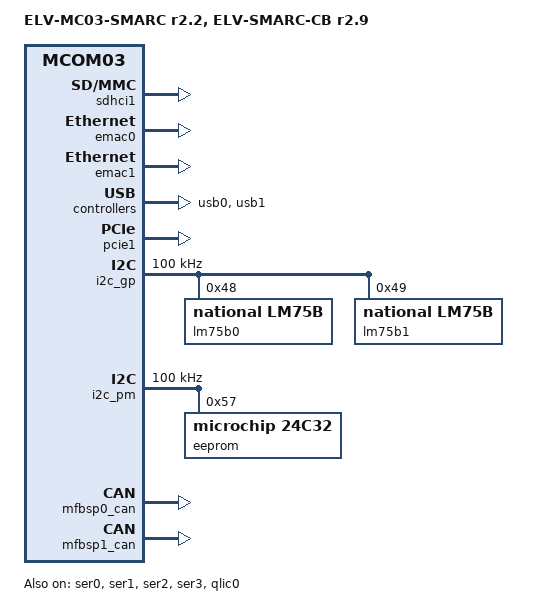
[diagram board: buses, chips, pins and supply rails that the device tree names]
// SPDX-License-Identifier: GPL-2.0+
/*
 * Copyright 2023 RnD Center "ELVEES", JSC
 */

/dts-v1/;

#include <dt-bindings/gpio/gpio.h>

#include "mcom03-elvmc03smarc-r2.2.dtsi"

/ {
	model = "ELV-MC03-SMARC r2.2, ELV-SMARC-CB r2.9";
	compatible = "elvees,elvmc03smarc-r2.2-elvsmarccb-r2.9",
		     "elvees,elvmc03smarc-elvsmarccb",
		     "elvees,elvsmarccb-r2.9",
		     "elvees,elvsmarccb",
		     "elvees,elvmc03smarc-r2.2",
		     "elvees,elvmc03smarc",
		     "elvees,mcom03";

	chosen {
		stdout-path = "serial0:115200n8";
		bootargs = "earlycon console=ttyS0,115200";
	};

	elvmc03smarc-leds {
		/*
		 * VD12, VD13 LEDs is controlled by GPIO11, GPIO12.
		 * GPIO expander which provided these pins is broken due to bug - MCOM03HW-1318.
		 */
		wdt-led {
			gpios = <&gpio0b 3 GPIO_ACTIVE_HIGH>;
			default-state = "off";
		};
	};
};

&sdhci1 {
	status = "okay";

	/* Disable 1.8V support
	 * Disable SDR50, SDR104 and DDR50 support
	 */
	sdhci-caps-mask = <0x7 0x4000000>;
	sdhci-caps = <0x0 0x0>;
};

/*
 * RS-485 not supported in this revision due to bug: MCOM03HW-1288
 * 4 wire RS-232
 */
&ser0 {
	status = "okay";

	pinctrl-names = "default";
	pinctrl-0 = <&uart3_mux_data &uart3_mux_rtscts>;
};

/* Connects to debug USB-c port */
&ser1 {
	status = "okay";
};

/* Connects to "RPi" header */
&ser2 {
	status = "okay";
};

/* Connects to "SER3" header */
&ser3 {
	status = "okay";
};

&emac0 {
	status = "okay";
};

&emac1 {
	status = "okay";
};

/* USB3 SS */
&usb0 {
	status = "okay";
};

/*
* 2 hubs: 1 on ELV-MC03-SMARC and 1 on ELV-SMARC-CB
*/
&usb1 {
	status = "okay";
};

&pcie1 {
	status = "okay";
};

&i2c_gp {
	status = "okay";
	// not tested to work on 400k
	clock-frequency = <100000>;

	lm75b0: sensor@48 {
		compatible = "national,lm75b";
		reg = <0x48>;
	};

	lm75b1: sensor@49 {
		compatible = "national,lm75b";
		reg = <0x49>;
	};
};

&i2c_pm {
	status = "okay";
	// not tested to work on 400k
	clock-frequency = <100000>;

	eeprom@57 {
		compatible = "microchip,24c32", "atmel,24c32";
		reg = <0x57>;
	};
};

/* Connected to XP7 socket through CAN transceiver */
&mfbsp0_can {
	status = "okay";
};

/* Connected to XP7 socket through CAN transceiver */
&mfbsp1_can {
	status = "okay";
};

&qlic0 {
	status = "okay";
};
